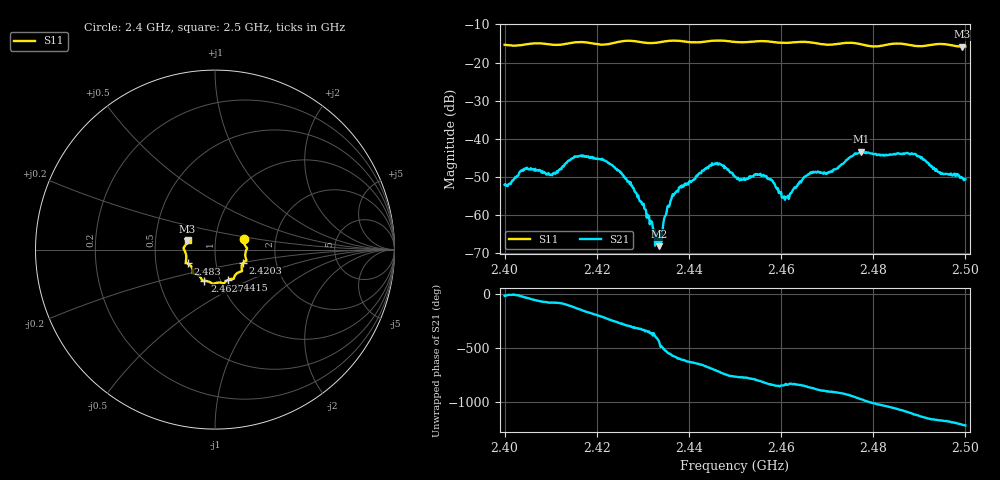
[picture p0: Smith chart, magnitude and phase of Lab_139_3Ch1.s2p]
# Hz S RI R 50
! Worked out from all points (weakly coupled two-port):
!   601 points, 2.4 GHz to 2.5 GHz, reference 50 ohm
!   highest |S21| = -43.45 dB at 2.4773 GHz (marker M1); lowest = -68.2 dB at 2.4335 GHz (marker M2)
!   lowest |S11| = -15.8 dB at 2.4993 GHz (marker M3), VSWR 1.38, Z = 36.5 + j3.54 ohm
!   |S11| at or under -10 dB: start of sweep to end of sweep
!   S12 and S22 are empty: the file has one direction only
!   S11 on the Smith chart (normalised r, x): 2.4 GHz: 1.37, +0.17; 2.4203 GHz: 1.35, -0.20; 2.4415 GHz: 1.09, -0.38; 2.4627 GHz: 0.84, -0.30; 2.483 GHz: 0.73, -0.12; 2.5 GHz: 0.73, +0.08
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2.4e9  0.1604 0.0588  0.00241 -0.000602  0 0  0 0
2.404333e9  0.1712 0.0174  0.0035 -0.00185  0 0  0 0
2.410167e9  0.1714 -0.0099  0.000749 -0.00328  0 0  0 0
2.416667e9  0.1753 -0.0611  -0.005 -0.00338  0 0  0 0
2.420333e9  0.1568 -0.0731  -0.00515 0.00164  0 0  0 0
2.4275e9  0.15 -0.1206  0.00122 0.00209  0 0  0 0
2.433333e9  0.1094 -0.1469  0.0002 -0.000438  0 0  0 0
2.4335e9  0.1088 -0.1483  8.29e-05 -0.00038  0 0  0 0
2.4365e9  0.1048 -0.1628  -0.00156 0.00104  0 0  0 0
2.4415e9  0.0745 -0.1675  0.000716 0.00308  0 0  0 0
2.446167e9  0.0502 -0.1879  0.00481 0.000303  0 0  0 0
2.45e9  0.031 -0.1834  0.00214 -0.00234  0 0  0 0
2.456333e9  -0.0123 -0.1902  -0.000597 -0.00324  0 0  0 0
2.460667e9  -0.0426 -0.1758  -0.00109 -0.00137  0 0  0 0
2.462667e9  -0.0595 -0.1738  -0.000964 -0.00195  0 0  0 0
2.466667e9  -0.0738 -0.1674  -0.00323 -0.00166  0 0  0 0
2.477333e9  -0.1235 -0.122  -0.00156 0.00654  0 0  0 0
2.483e9  -0.153 -0.0774  0.00486 0.00361  0 0  0 0
2.483333e9  -0.1552 -0.0764  0.00511 0.00339  0 0  0 0
2.488833e9  -0.1595 -0.0451  0.00493 -0.00391  0 0  0 0
2.499333e9  -0.1542 0.0473  -0.00215 -0.00216  0 0  0 0
2.5e9  -0.1525 0.0561  -0.00228 -0.00184  0 0  0 0
